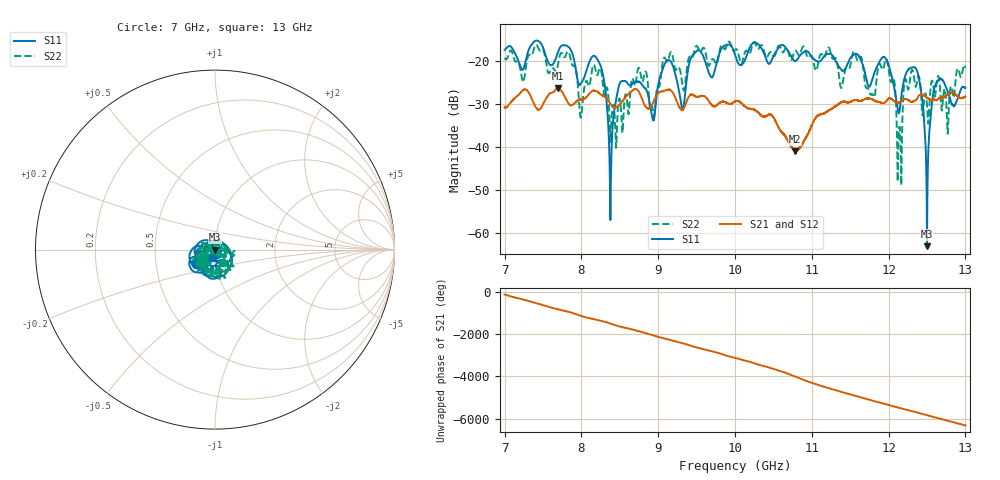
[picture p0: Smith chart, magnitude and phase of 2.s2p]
[Version] 2.0
! Rohde & Schwarz Vector Network Analyzer
! Rohde-Schwarz,ZNL20-2Port,1323001220200009,1.71.1.10-23.02.1.238
! Port Assignments:
! Nominal Port -> Actual Test Port
!  1 -> 1
!  2 -> 2
! Created: GMT+3 2024-09-24 16:02:29
# Hz S DB R 50
[Number of Ports] 2
[Two-Port Data Order] 21_12
! freq[Hz]  S11[mag dB]  S11[ang]  S21[mag dB]  S21[ang]  S12[mag dB]  S12[ang]  S22[mag dB]  S22[ang]
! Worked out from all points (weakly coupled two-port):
!   6001 points, 7 GHz to 13 GHz, reference 50 ohm
!   highest |S21| = -26.30 dB at 7.696 GHz (marker M1); lowest = -41.0 dB at 10.79 GHz (marker M2)
!   lowest |S11| = -63.0 dB at 12.5 GHz (marker M3), VSWR 1.00, Z = 50.1 + j0.0447 ohm
!   |S11| at or under -10 dB: start of sweep to end of sweep
!   |S22| runs from -48.9 to -15.5 dB; largest |S21 - S12| = 0.00094
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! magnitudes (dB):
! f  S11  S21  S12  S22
! 7 GHz  -17.5  -30.8  -30.7  -19.3
! 7.696 GHz  -18.0  -26.3  -26.3  -20.8
! 7.838 GHz  -16.8  -30.1  -30.1  -18.1
! 8 GHz  -25.1  -29.0  -28.9  -32.5
! 8.242 GHz  -20.8  -27.7  -27.7  -21.7
! 8.379 GHz  -54.3  -30.0  -30.0  -38.8
! 8.513 GHz  -24.8  -29.9  -29.8  -30.7
! 8.748 GHz  -24.8  -27.2  -27.2  -21.6
! 8.931 GHz  -33.6  -29.8  -29.8  -31.3
! 9 GHz  -25.5  -27.5  -27.5  -26.0
! 9.317 GHz  -31.5  -31.3  -31.3  -25.8
! 10 GHz  -18.5  -29.4  -29.4  -17.4
! 10.79 GHz  -20.1  -41.0  -40.8  -17.7
! 11 GHz  -19.1  -34.9  -34.9  -19.0
! 12 GHz  -21.0  -28.8  -28.8  -21.8
! 12.14 GHz  -31.8  -29.6  -29.7  -35.3
! 12.22 GHz  -23.5  -28.9  -28.9  -24.2
! 12.36 GHz  -21.9  -29.0  -29.0  -25.8
! 12.5 GHz  -63.0  -28.6  -28.6  -30.2
! 12.62 GHz  -25.1  -29.1  -29.1  -25.3
! 12.77 GHz  -27.2  -27.8  -27.8  -36.9
! 13 GHz  -26.3  -28.3  -28.4  -21.6
